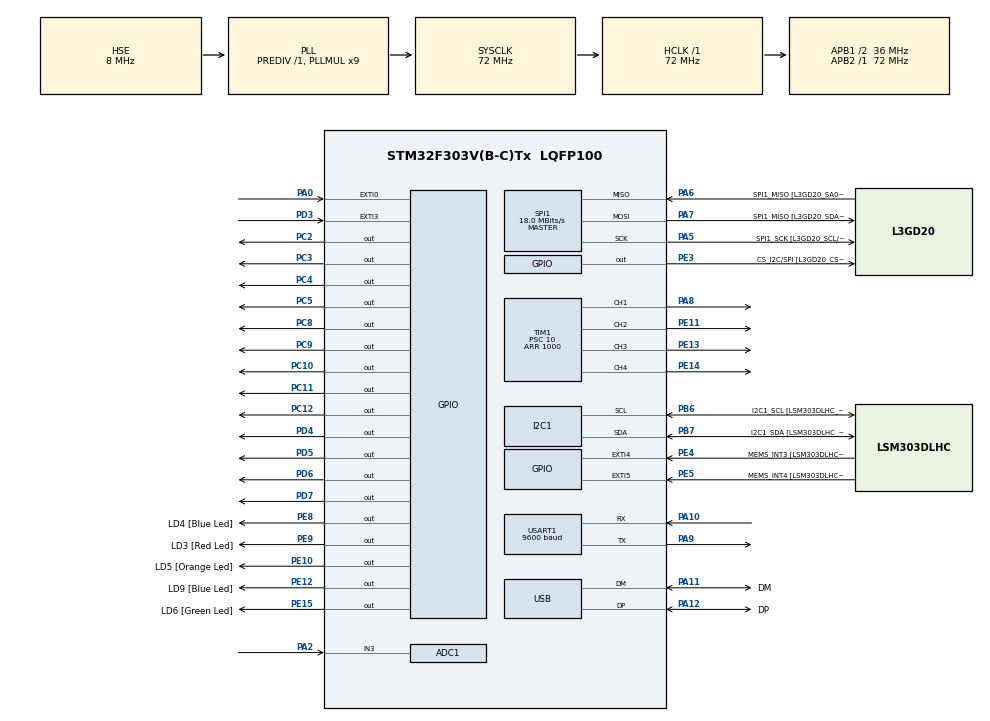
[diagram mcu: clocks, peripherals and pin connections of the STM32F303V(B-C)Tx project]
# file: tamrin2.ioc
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ADC1.Channel-1\#ChannelRegularConversion=ADC_CHANNEL_3
ADC1.NbrOfConversionFlag=1
ADC1.Offset-1\#ChannelRegularConversion=0
ADC1.OffsetNumber-1\#ChannelRegularConversion=ADC_OFFSET_NONE
ADC1.Rank-1\#ChannelRegularConversion=1
ADC1.SamplingTime-1\#ChannelRegularConversion=ADC_SAMPLETIME_601CYCLES_5
ADC1.master=1
I2C1.Timing-I2C=0x2000090E
Mcu.Family=STM32F3
Mcu.Name=STM32F303V(B-C)Tx
Mcu.Package=LQFP100
NVIC.ADC1_2_IRQn=true\:3\:0\:true\:false\:true\:true\:true
NVIC.EXTI0_IRQn=true\:0\:0\:true\:false\:true\:true\:true
NVIC.EXTI3_IRQn=true\:1\:0\:true\:false\:true\:true\:true
NVIC.PriorityGroup=NVIC_PRIORITYGROUP_2
NVIC.TIM2_IRQn=true\:0\:0\:true\:false\:true\:true\:true
NVIC.TIM3_IRQn=true\:2\:0\:true\:false\:true\:true\:true
NVIC.USART1_IRQn=true\:1\:0\:true\:false\:true\:true\:true
PA0.Signal=GPXTI0
PA10.Mode=Asynchronous
PA10.Signal=USART1_RX
PA11.GPIO_Label=DM
PA11.Mode=Device
PA11.Signal=USB_DM
PA12.GPIO_Label=DP
PA12.Mode=Device
PA12.Signal=USB_DP
PA13.GPIO_Label=SWDIO
PA13.Mode=Serial_Wire
PA13.Signal=SYS_JTMS-SWDIO
PA14.GPIO_Label=SWCLK
PA14.Mode=Serial_Wire
PA14.Signal=SYS_JTCK-SWCLK
PA2.Mode=IN3-Single-Ended
PA2.Signal=ADC1_IN3
PA5.GPIO_Label=SPI1_SCK [L3GD20_SCL/SPC]
PA5.Mode=Full_Duplex_Master
PA5.Signal=SPI1_SCK
PA6.GPIO_Label=SPI1_MISO [L3GD20_SA0/SDO]
PA6.Mode=Full_Duplex_Master
PA6.Signal=SPI1_MISO
PA7.GPIO_Label=SPI1_MISO [L3GD20_SDA/SDI/SDO]
PA7.Mode=Full_Duplex_Master
PA7.Signal=SPI1_MOSI
PA8.Signal=S_TIM1_CH1
PA9.Mode=Asynchronous
PA9.Signal=USART1_TX
PB3.GPIO_Label=SWO
PB3.Signal=SYS_JTDO-TRACESWO
PB6.GPIO_Label=I2C1_SCL [LSM303DLHC_SCL]
PB6.GPIO_Pu=GPIO_PULLUP
PB6.Mode=I2C
PB6.Signal=I2C1_SCL
PB7.GPIO_Label=I2C1_SDA [LSM303DLHC_SDA]
PB7.GPIO_Pu=GPIO_PULLUP
PB7.Mode=I2C
PB7.Signal=I2C1_SDA
PC10.Signal=GPIO_Output
PC11.Signal=GPIO_Output
PC12.Signal=GPIO_Output
PC14-OSC32_IN.GPIO_Label=OSC32_IN
PC14-OSC32_IN.Signal=RCC_OSC32_IN
PC15-OSC32_OUT.GPIO_Label=OSC32_OUT
PC15-OSC32_OUT.Signal=RCC_OSC32_OUT
PC2.GPIO_PuPd=GPIO_PULLDOWN
PC2.Signal=GPIO_Output
PC3.GPIO_PuPd=GPIO_PULLDOWN
PC3.Signal=GPIO_Output
PC4.GPIO_PuPd=GPIO_PULLDOWN
PC4.Signal=GPIO_Output
PC5.GPIO_PuPd=GPIO_PULLDOWN
PC5.Signal=GPIO_Output
PC8.Signal=GPIO_Output
PC9.GPIO_PuPd=GPIO_PULLDOWN
PC9.Signal=GPIO_Output
PD3.GPIO_PuPd=GPIO_PULLDOWN
PD3.Signal=GPXTI3
PD4.GPIO_PuPd=GPIO_PULLDOWN
PD4.Signal=GPIO_Output
PD5.GPIO_PuPd=GPIO_PULLDOWN
PD5.Signal=GPIO_Output
PD6.GPIO_PuPd=GPIO_PULLDOWN
PD6.Signal=GPIO_Output
PD7.GPIO_PuPd=GPIO_PULLDOWN
PD7.Signal=GPIO_Output
PE10.GPIO_Label=LD5 [Orange Led]
PE10.Signal=GPIO_Output
PE11.Signal=S_TIM1_CH2
PE12.GPIO_Label=LD9 [Blue Led]
PE12.Signal=GPIO_Output
PE13.Signal=S_TIM1_CH3
PE14.Signal=S_TIM1_CH4
PE15.GPIO_Label=LD6 [Green Led]
PE15.Signal=GPIO_Output
PE3.GPIO_Label=CS_I2C/SPI [L3GD20_CS_I2C/SPI]
PE3.Signal=GPIO_Output
PE4.GPIO_Label=MEMS_INT3 [LSM303DLHC_INT1]
PE4.GPIO_ModeDefaultEXTI=GPIO_MODE_EVT_RISING
PE4.Signal=GPXTI4
PE5.GPIO_Label=MEMS_INT4 [LSM303DLHC_INT2]
PE5.GPIO_ModeDefaultEXTI=GPIO_MODE_EVT_RISING
PE5.Signal=GPXTI5
PE8.GPIO_Label=LD4 [Blue Led]
PE8.Signal=GPIO_Output
PE9.GPIO_Label=LD3 [Red Led]
PE9.Signal=GPIO_Output
PF0-OSC_IN.GPIO_Label=OSC_IN
PF0-OSC_IN.Mode=HSE-External-Clock-Source
PF0-OSC_IN.Signal=RCC_OSC_IN
PF1-OSC_OUT.GPIO_Label=OSC_OUT
PF1-OSC_OUT.Signal=RCC_OSC_OUT
ProjectManager.HeapSize=0x200
ProjectManager.StackSize=0x400
ProjectManager.TargetToolchain=STM32CubeIDE
RCC.AHBFreq_Value=72000000
RCC.APB1CLKDivider=RCC_HCLK_DIV2
RCC.APB1Freq_Value=36000000
RCC.APB1TimFreq_Value=72000000
RCC.APB2Freq_Value=72000000
RCC.APB2TimFreq_Value=72000000
RCC.CortexFreq_Value=72000000
RCC.HCLKFreq_Value=72000000
RCC.HSE_VALUE=8000000
RCC.HSI_VALUE=8000000
RCC.LSE_VALUE=32768
RCC.PLLMUL=RCC_PLL_MUL9
RCC.PRESCALERUSB=RCC_USBCLKSOURCE_PLL_DIV1_5
RCC.SYSCLKFreq_VALUE=72000000
RCC.SYSCLKSourceVirtual=RCC_SYSCLKSOURCE_PLLCLK
RCC.USBFreq_Value=48000000
RTC.AsynchPrediv=39
RTC.SynchPrediv=999
SH.S_TIM1_CH1.0=TIM1_CH1,PWM Generation1 CH1
SH.S_TIM1_CH2.0=TIM1_CH2,PWM Generation2 CH2
SH.S_TIM1_CH3.0=TIM1_CH3,PWM Generation3 CH3
SH.S_TIM1_CH4.0=TIM1_CH4,PWM Generation4 CH4
SPI1.BaudRatePrescaler=SPI_BAUDRATEPRESCALER_4
SPI1.BaudRatePrescaler-Full_Duplex_Master=SPI_BAUDRATEPRESCALER_2
SPI1.CalculateBaudRate=18.0 MBits/s
SPI1.CalculateBaudRate-Full_Duplex_Master=24.0 MBits/s
SPI1.Direction=SPI_DIRECTION_2LINES
SPI1.Mode=SPI_MODE_MASTER
SPI1.Mode-Full_Duplex_Master=SPI_MODE_MASTER
SPI1.VirtualType=VM_MASTER
TIM1.Channel-PWM\ Generation1\ CH1=TIM_CHANNEL_1
TIM1.Channel-PWM\ Generation2\ CH2=TIM_CHANNEL_2
TIM1.Channel-PWM\ Generation3\ CH3=TIM_CHANNEL_3
TIM1.Channel-PWM\ Generation4\ CH4=TIM_CHANNEL_4
TIM1.Period=1000
TIM1.Prescaler=10
TIM2.Period=1000
TIM2.Prescaler=287
TIM3.Period=10000
TIM3.Prescaler=3599
USART1.BaudRate=9600
USART1.VirtualMode-Asynchronous=VM_ASYNC
VP_RTC_VS_RTC_Activate.Mode=RTC_Enabled
VP_RTC_VS_RTC_Calendar.Mode=RTC_Calendar
VP_TIM2_VS_ClockSourceINT.Mode=Internal
VP_TIM3_VS_ClockSourceINT.Mode=Internal
board=STM32F3DISCOVERY

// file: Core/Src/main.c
/* USER CODE BEGIN Header */
/**
  ******************************************************************************
  * @file           : main.c
  * @brief          : Main program body
  ******************************************************************************
  * @attention
  *
  * <h2><center>&copy; Copyright (c) 2022 STMicroelectronics.
  * All rights reserved.</center></h2>
  *
  * This software component is licensed by ST under BSD 3-Clause license,
  * the "License"; You may not use this file except in compliance with the
  * License. You may obtain a copy of the License at:
  *                        opensource.org/licenses/BSD-3-Clause
  *
  ******************************************************************************
  */
/* USER CODE END Header */
#include "main.h"

/* USER CODE BEGIN Includes */
#include "LiquidCrystal.h"
#include<time.h>
#include <stdio.h>
#include <stdlib.h>

/* USER CODE END Includes */

/* USER CODE BEGIN PTD */
typedef unsigned char byte;
/* USER CODE END PTD */

ADC_HandleTypeDef hadc1;

I2C_HandleTypeDef hi2c1;

RTC_HandleTypeDef hrtc;

SPI_HandleTypeDef hspi1;

TIM_HandleTypeDef htim1;
TIM_HandleTypeDef htim2;
TIM_HandleTypeDef htim3;

UART_HandleTypeDef huart1;

PCD_HandleTypeDef hpcd_USB_FS;

/* USER CODE BEGIN PV */
RTC_TimeTypeDef mytime;
RTC_DateTypeDef mydate;
unsigned char data1[1];

byte doodler_on_stick[8] = {
	0x10,
	0x10,
	0x1F,
	0x11,
	0x11,
	0x1F,
	0x12,
	0x12
};
byte doodler[8] = {
	0x00,
	0x00,
	0x1F,
	0x11,
	0x11,
	0x1F,
	0x02,
	0x02
};
byte normal_stick[8] = {
	0x10,
	0x10,
	0x10,
	0x10,
	0x10,
	0x10,
	0x10,
	0x10
};
byte broken_stick[8] = {
	0x10,
	0x10,
	0x10,
	0x00,
	0x00,
	0x10,
	0x10,
	0x10
};
byte jump_stick[8] = {
	0x10,
	0x10,
	0x15,
	0x1F,
	0x1A,
	0x10,
	0x10,
	0x10
};
byte monster[8] = {
	0x15,
	0x0E,
	0x04,
	0x1F,
	0x1F,
	0x04,
	0x0E,
	0x15
};
byte black_hole[8] = {
	0x04,
	0x0E,
	0x1F,
	0x1F,
	0x1F,
	0x1F,
	0x0E,
	0x04
};

/* USER CODE END PV */

void SystemClock_Config(void);
static void MX_GPIO_Init(void);
static void MX_I2C1_Init(void);
static void MX_SPI1_Init(void);
static void MX_USB_PCD_Init(void);
static void MX_TIM2_Init(void);
static void MX_USART1_UART_Init(void);
static void MX_ADC1_Init(void);
static void MX_TIM1_Init(void);
static void MX_RTC_Init(void);
static void MX_TIM3_Init(void);

int main(void)
{

  /* MCU Configuration--------------------------------------------------------*/

  /* Reset of all peripherals, Initializes the Flash interface and the Systick. */
  HAL_Init();

  /* Configure the system clock */
  SystemClock_Config();

  /* Initialize all configured peripherals */
  MX_GPIO_Init();
  MX_I2C1_Init();
  MX_SPI1_Init();
  MX_USB_PCD_Init();
  MX_TIM2_Init();
  MX_USART1_UART_Init();
  MX_ADC1_Init();
  MX_TIM1_Init();
  MX_RTC_Init();
  MX_TIM3_Init();
  /* USER CODE BEGIN 2 */
	srand(time(0));
	LiquidCrystal(GPIOD, GPIO_PIN_8, GPIO_PIN_9, GPIO_PIN_10, GPIO_PIN_11, GPIO_PIN_12, GPIO_PIN_13, GPIO_PIN_14);
	begin(20,4);
	createChar(0, doodler);
	createChar(1, doodler_on_stick);
	createChar(2, normal_stick);
	createChar(3, broken_stick);
	createChar(4, jump_stick);
	createChar(5, monster);
	createChar(6, black_hole);

	HAL_ADC_Start_IT(&hadc1);

	HAL_UART_Receive_IT(&huart1, data1, sizeof(data1));
	HAL_TIM_Base_Start_IT(&htim2);
	HAL_TIM_Base_Start_IT(&htim3);
	HAL_TIM_PWM_Start(&htim1, TIM_CHANNEL_1);
	HAL_TIM_PWM_Start(&htim1, TIM_CHANNEL_2);
	HAL_TIM_PWM_Start(&htim1, TIM_CHANNEL_3);
	HAL_TIM_PWM_Start(&htim1, TIM_CHANNEL_4);

	HAL_GPIO_WritePin(GPIOD, GPIO_PIN_4, 1);
	HAL_GPIO_WritePin(GPIOD, GPIO_PIN_5, 1);
	HAL_GPIO_WritePin(GPIOD, GPIO_PIN_6, 1);
	HAL_GPIO_WritePin(GPIOD, GPIO_PIN_7, 1);

	mytime.Hours = 19;
	mytime.Minutes = 31;
	mytime.Seconds = 40;
	HAL_RTC_SetTime(&hrtc, &mytime, RTC_FORMAT_BIN);

	mydate.Year = 22;
	mydate.Month = 7;
	mydate.Date = 1;
	HAL_RTC_SetDate(&hrtc, &mydate, RTC_FORMAT_BIN);

  /* USER CODE END 2 */

  /* Infinite loop */
  while (1)
  {

  }
}

void SystemClock_Config(void)
{
  RCC_OscInitTypeDef RCC_OscInitStruct = {0};
  RCC_ClkInitTypeDef RCC_ClkInitStruct = {0};
  RCC_PeriphCLKInitTypeDef PeriphClkInit = {0};

  /** Initializes the RCC Oscillators according to the specified parameters
  * in the RCC_OscInitTypeDef structure.
  */
  RCC_OscInitStruct.OscillatorType = RCC_OSCILLATORTYPE_HSI|RCC_OSCILLATORTYPE_LSI
                              |RCC_OSCILLATORTYPE_HSE;
  RCC_OscInitStruct.HSEState = RCC_HSE_BYPASS;
  RCC_OscInitStruct.HSEPredivValue = RCC_HSE_PREDIV_DIV1;
  RCC_OscInitStruct.HSIState = RCC_HSI_ON;
  RCC_OscInitStruct.HSICalibrationValue = RCC_HSICALIBRATION_DEFAULT;
  RCC_OscInitStruct.LSIState = RCC_LSI_ON;
  RCC_OscInitStruct.PLL.PLLState = RCC_PLL_ON;
  RCC_OscInitStruct.PLL.PLLSource = RCC_PLLSOURCE_HSE;
  RCC_OscInitStruct.PLL.PLLMUL = RCC_PLL_MUL9;
  if (HAL_RCC_OscConfig(&RCC_OscInitStruct) != HAL_OK)
  {
    Error_Handler();
  }
  /** Initializes the CPU, AHB and APB buses clocks
  */
  RCC_ClkInitStruct.ClockType = RCC_CLOCKTYPE_HCLK|RCC_CLOCKTYPE_SYSCLK
                              |RCC_CLOCKTYPE_PCLK1|RCC_CLOCKTYPE_PCLK2;
  RCC_ClkInitStruct.SYSCLKSource = RCC_SYSCLKSOURCE_PLLCLK;
  RCC_ClkInitStruct.AHBCLKDivider = RCC_SYSCLK_DIV1;
  RCC_ClkInitStruct.APB1CLKDivider = RCC_HCLK_DIV2;
  RCC_ClkInitStruct.APB2CLKDivider = RCC_HCLK_DIV1;

  if (HAL_RCC_ClockConfig(&RCC_ClkInitStruct, FLASH_LATENCY_2) != HAL_OK)
  {
    Error_Handler();
  }
  PeriphClkInit.PeriphClockSelection = RCC_PERIPHCLK_USB|RCC_PERIPHCLK_USART1
                              |RCC_PERIPHCLK_I2C1|RCC_PERIPHCLK_RTC
                              |RCC_PERIPHCLK_TIM1|RCC_PERIPHCLK_ADC12;
  PeriphClkInit.Usart1ClockSelection = RCC_USART1CLKSOURCE_PCLK2;
  PeriphClkInit.Adc12ClockSelection = RCC_ADC12PLLCLK_DIV1;
  PeriphClkInit.I2c1ClockSelection = RCC_I2C1CLKSOURCE_HSI;
  PeriphClkInit.RTCClockSelection = RCC_RTCCLKSOURCE_LSI;
  PeriphClkInit.USBClockSelection = RCC_USBCLKSOURCE_PLL_DIV1_5;
  PeriphClkInit.Tim1ClockSelection = RCC_TIM1CLK_HCLK;
  if (HAL_RCCEx_PeriphCLKConfig(&PeriphClkInit) != HAL_OK)
  {
    Error_Handler();
  }
}

static void MX_ADC1_Init(void)
{

  ADC_MultiModeTypeDef multimode = {0};
  ADC_ChannelConfTypeDef sConfig = {0};

  /** Common config
  */
  hadc1.Instance = ADC1;
  hadc1.Init.ClockPrescaler = ADC_CLOCK_ASYNC_DIV1;
  hadc1.Init.Resolution = ADC_RESOLUTION_12B;
  hadc1.Init.ScanConvMode = ADC_SCAN_DISABLE;
  hadc1.Init.ContinuousConvMode = DISABLE;
  hadc1.Init.DiscontinuousConvMode = DISABLE;
  hadc1.Init.ExternalTrigConvEdge = ADC_EXTERNALTRIGCONVEDGE_NONE;
  hadc1.Init.ExternalTrigConv = ADC_SOFTWARE_START;
  hadc1.Init.DataAlign = ADC_DATAALIGN_RIGHT;
  hadc1.Init.NbrOfConversion = 1;
  hadc1.Init.DMAContinuousRequests = DISABLE;
  hadc1.Init.EOCSelection = ADC_EOC_SINGLE_CONV;
  hadc1.Init.LowPowerAutoWait = DISABLE;
  hadc1.Init.Overrun = ADC_OVR_DATA_OVERWRITTEN;
  if (HAL_ADC_Init(&hadc1) != HAL_OK)
  {
    Error_Handler();
  }
  /** Configure the ADC multi-mode
  */
  multimode.Mode = ADC_MODE_INDEPENDENT;
  if (HAL_ADCEx_MultiModeConfigChannel(&hadc1, &multimode) != HAL_OK)
  {
    Error_Handler();
  }
  /** Configure Regular Channel
  */
  sConfig.Channel = ADC_CHANNEL_3;
  sConfig.Rank = ADC_REGULAR_RANK_1;
  sConfig.SingleDiff = ADC_SINGLE_ENDED;
  sConfig.SamplingTime = ADC_SAMPLETIME_601CYCLES_5;
  sConfig.OffsetNumber = ADC_OFFSET_NONE;
  sConfig.Offset = 0;
  if (HAL_ADC_ConfigChannel(&hadc1, &sConfig) != HAL_OK)
  {
    Error_Handler();
  }

}

static void MX_I2C1_Init(void)
{

  hi2c1.Instance = I2C1;
  hi2c1.Init.Timing = 0x2000090E;
  hi2c1.Init.OwnAddress1 = 0;
  hi2c1.Init.AddressingMode = I2C_ADDRESSINGMODE_7BIT;
  hi2c1.Init.DualAddressMode = I2C_DUALADDRESS_DISABLE;
  hi2c1.Init.OwnAddress2 = 0;
  hi2c1.Init.OwnAddress2Masks = I2C_OA2_NOMASK;
  hi2c1.Init.GeneralCallMode = I2C_GENERALCALL_DISABLE;
  hi2c1.Init.NoStretchMode = I2C_NOSTRETCH_DISABLE;
  if (HAL_I2C_Init(&hi2c1) != HAL_OK)
  {
    Error_Handler();
  }
  /** Configure Analogue filter
  */
  if (HAL_I2CEx_ConfigAnalogFilter(&hi2c1, I2C_ANALOGFILTER_ENABLE) != HAL_OK)
  {
    Error_Handler();
  }
  /** Configure Digital filter
  */
  if (HAL_I2CEx_ConfigDigitalFilter(&hi2c1, 0) != HAL_OK)
  {
    Error_Handler();
  }

}

static void MX_RTC_Init(void)
{

  RTC_TimeTypeDef sTime = {0};
  RTC_DateTypeDef sDate = {0};

  /** Initialize RTC Only
  */
  hrtc.Instance = RTC;
  hrtc.Init.HourFormat = RTC_HOURFORMAT_24;
  hrtc.Init.AsynchPrediv = 39;
  hrtc.Init.SynchPrediv = 999;
  hrtc.Init.OutPut = RTC_OUTPUT_DISABLE;
  hrtc.Init.OutPutPolarity = RTC_OUTPUT_POLARITY_HIGH;
  hrtc.Init.OutPutType = RTC_OUTPUT_TYPE_OPENDRAIN;
  if (HAL_RTC_Init(&hrtc) != HAL_OK)
  {
    Error_Handler();
  }

  /** Initialize RTC and set the Time and Date
  */
  sTime.Hours = 0x0;
  sTime.Minutes = 0x0;
  sTime.Seconds = 0x0;
  sTime.DayLightSaving = RTC_DAYLIGHTSAVING_NONE;
  sTime.StoreOperation = RTC_STOREOPERATION_RESET;
  if (HAL_RTC_SetTime(&hrtc, &sTime, RTC_FORMAT_BCD) != HAL_OK)
  {
    Error_Handler();
  }
  sDate.WeekDay = RTC_WEEKDAY_MONDAY;
  sDate.Month = RTC_MONTH_JANUARY;
  sDate.Date = 0x1;
  sDate.Year = 0x0;

  if (HAL_RTC_SetDate(&hrtc, &sDate, RTC_FORMAT_BCD) != HAL_OK)
  {
    Error_Handler();
  }

}

static void MX_SPI1_Init(void)
{

  /* SPI1 parameter configuration*/
  hspi1.Instance = SPI1;
  hspi1.Init.Mode = SPI_MODE_MASTER;
  hspi1.Init.Direction = SPI_DIRECTION_2LINES;
  hspi1.Init.DataSize = SPI_DATASIZE_4BIT;
  hspi1.Init.CLKPolarity = SPI_POLARITY_LOW;
  hspi1.Init.CLKPhase = SPI_PHASE_1EDGE;
  hspi1.Init.NSS = SPI_NSS_SOFT;
  hspi1.Init.BaudRatePrescaler = SPI_BAUDRATEPRESCALER_4;
  hspi1.Init.FirstBit = SPI_FIRSTBIT_MSB;
  hspi1.Init.TIMode = SPI_TIMODE_DISABLE;
  hspi1.Init.CRCCalculation = SPI_CRCCALCULATION_DISABLE;
  hspi1.Init.CRCPolynomial = 7;
  hspi1.Init.CRCLength = SPI_CRC_LENGTH_DATASIZE;
  hspi1.Init.NSSPMode = SPI_NSS_PULSE_ENABLE;
  if (HAL_SPI_Init(&hspi1) != HAL_OK)
  {
    Error_Handler();
  }

}

static void MX_TIM1_Init(void)
{

  TIM_MasterConfigTypeDef sMasterConfig = {0};
  TIM_OC_InitTypeDef sConfigOC = {0};
  TIM_BreakDeadTimeConfigTypeDef sBreakDeadTimeConfig = {0};

  htim1.Instance = TIM1;
  htim1.Init.Prescaler = 10;
  htim1.Init.CounterMode = TIM_COUNTERMODE_UP;
  htim1.Init.Period = 1000;
  htim1.Init.ClockDivision = TIM_CLOCKDIVISION_DIV1;
  htim1.Init.RepetitionCounter = 0;
  htim1.Init.AutoReloadPreload = TIM_AUTORELOAD_PRELOAD_DISABLE;
  if (HAL_TIM_PWM_Init(&htim1) != HAL_OK)
  {
    Error_Handler();
  }
  sMasterConfig.MasterOutputTrigger = TIM_TRGO_RESET;
  sMasterConfig.MasterOutputTrigger2 = TIM_TRGO2_RESET;
  sMasterConfig.MasterSlaveMode = TIM_MASTERSLAVEMODE_DISABLE;
  if (HAL_TIMEx_MasterConfigSynchronization(&htim1, &sMasterConfig) != HAL_OK)
  {
    Error_Handler();
  }
  sConfigOC.OCMode = TIM_OCMODE_PWM1;
  sConfigOC.Pulse = 0;
  sConfigOC.OCPolarity = TIM_OCPOLARITY_HIGH;
  sConfigOC.OCNPolarity = TIM_OCNPOLARITY_HIGH;
  sConfigOC.OCFastMode = TIM_OCFAST_DISABLE;
  sConfigOC.OCIdleState = TIM_OCIDLESTATE_RESET;
  sConfigOC.OCNIdleState = TIM_OCNIDLESTATE_RESET;
  if (HAL_TIM_PWM_ConfigChannel(&htim1, &sConfigOC, TIM_CHANNEL_1) != HAL_OK)
  {
    Error_Handler();
  }
  if (HAL_TIM_PWM_ConfigChannel(&htim1, &sConfigOC, TIM_CHANNEL_2) != HAL_OK)
  {
    Error_Handler();
  }
  if (HAL_TIM_PWM_ConfigChannel(&htim1, &sConfigOC, TIM_CHANNEL_3) != HAL_OK)
  {
    Error_Handler();
  }
  if (HAL_TIM_PWM_ConfigChannel(&htim1, &sConfigOC, TIM_CHANNEL_4) != HAL_OK)
  {
    Error_Handler();
  }
  sBreakDeadTimeConfig.OffStateRunMode = TIM_OSSR_DISABLE;
  sBreakDeadTimeConfig.OffStateIDLEMode = TIM_OSSI_DISABLE;
  sBreakDeadTimeConfig.LockLevel = TIM_LOCKLEVEL_OFF;
  sBreakDeadTimeConfig.DeadTime = 0;
  sBreakDeadTimeConfig.BreakState = TIM_BREAK_DISABLE;
  sBreakDeadTimeConfig.BreakPolarity = TIM_BREAKPOLARITY_HIGH;
  sBreakDeadTimeConfig.BreakFilter = 0;
  sBreakDeadTimeConfig.Break2State = TIM_BREAK2_DISABLE;
  sBreakDeadTimeConfig.Break2Polarity = TIM_BREAK2POLARITY_HIGH;
  sBreakDeadTimeConfig.Break2Filter = 0;
  sBreakDeadTimeConfig.AutomaticOutput = TIM_AUTOMATICOUTPUT_DISABLE;
  if (HAL_TIMEx_ConfigBreakDeadTime(&htim1, &sBreakDeadTimeConfig) != HAL_OK)
  {
    Error_Handler();
  }
  HAL_TIM_MspPostInit(&htim1);

}

static void MX_TIM2_Init(void)
{

  TIM_ClockConfigTypeDef sClockSourceConfig = {0};
  TIM_MasterConfigTypeDef sMasterConfig = {0};

  htim2.Instance = TIM2;
  htim2.Init.Prescaler = 287;
  htim2.Init.CounterMode = TIM_COUNTERMODE_UP;
  htim2.Init.Period = 1000;
  htim2.Init.ClockDivision = TIM_CLOCKDIVISION_DIV1;
  htim2.Init.AutoReloadPreload = TIM_AUTORELOAD_PRELOAD_DISABLE;
  if (HAL_TIM_Base_Init(&htim2) != HAL_OK)
  {
    Error_Handler();
  }
  sClockSourceConfig.ClockSource = TIM_CLOCKSOURCE_INTERNAL;
  if (HAL_TIM_ConfigClockSource(&htim2, &sClockSourceConfig) != HAL_OK)
  {
    Error_Handler();
  }
  sMasterConfig.MasterOutputTrigger = TIM_TRGO_RESET;
  sMasterConfig.MasterSlaveMode = TIM_MASTERSLAVEMODE_DISABLE;
  if (HAL_TIMEx_MasterConfigSynchronization(&htim2, &sMasterConfig) != HAL_OK)
  {
    Error_Handler();
  }

}

static void MX_TIM3_Init(void)
{

  TIM_ClockConfigTypeDef sClockSourceConfig = {0};
  TIM_MasterConfigTypeDef sMasterConfig = {0};

  htim3.Instance = TIM3;
  htim3.Init.Prescaler = 3599;
  htim3.Init.CounterMode = TIM_COUNTERMODE_UP;
  htim3.Init.Period = 10000;
  htim3.Init.ClockDivision = TIM_CLOCKDIVISION_DIV1;
  htim3.Init.AutoReloadPreload = TIM_AUTORELOAD_PRELOAD_DISABLE;
  if (HAL_TIM_Base_Init(&htim3) != HAL_OK)
  {
    Error_Handler();
  }
  sClockSourceConfig.ClockSource = TIM_CLOCKSOURCE_INTERNAL;
  if (HAL_TIM_ConfigClockSource(&htim3, &sClockSourceConfig) != HAL_OK)
  {
    Error_Handler();
  }
  sMasterConfig.MasterOutputTrigger = TIM_TRGO_RESET;
  sMasterConfig.MasterSlaveMode = TIM_MASTERSLAVEMODE_DISABLE;
  if (HAL_TIMEx_MasterConfigSynchronization(&htim3, &sMasterConfig) != HAL_OK)
  {
    Error_Handler();
  }

}

static void MX_USART1_UART_Init(void)
{

  huart1.Instance = USART1;
  huart1.Init.BaudRate = 9600;
  huart1.Init.WordLength = UART_WORDLENGTH_8B;
  huart1.Init.StopBits = UART_STOPBITS_1;
  huart1.Init.Parity = UART_PARITY_NONE;
  huart1.Init.Mode = UART_MODE_TX_RX;
  huart1.Init.HwFlowCtl = UART_HWCONTROL_NONE;
  huart1.Init.OverSampling = UART_OVERSAMPLING_16;
  huart1.Init.OneBitSampling = UART_ONE_BIT_SAMPLE_DISABLE;
  huart1.AdvancedInit.AdvFeatureInit = UART_ADVFEATURE_NO_INIT;
  if (HAL_UART_Init(&huart1) != HAL_OK)
  {
    Error_Handler();
  }

}

static void MX_USB_PCD_Init(void)
{

  hpcd_USB_FS.Instance = USB;
  hpcd_USB_FS.Init.dev_endpoints = 8;
  hpcd_USB_FS.Init.speed = PCD_SPEED_FULL;
  hpcd_USB_FS.Init.phy_itface = PCD_PHY_EMBEDDED;
  hpcd_USB_FS.Init.low_power_enable = DISABLE;
  hpcd_USB_FS.Init.battery_charging_enable = DISABLE;
  if (HAL_PCD_Init(&hpcd_USB_FS) != HAL_OK)
  {
    Error_Handler();
  }

}

static void MX_GPIO_Init(void)
{
  GPIO_InitTypeDef GPIO_InitStruct = {0};

  /* GPIO Ports Clock Enable */
  __HAL_RCC_GPIOE_CLK_ENABLE();
  __HAL_RCC_GPIOC_CLK_ENABLE();
  __HAL_RCC_GPIOF_CLK_ENABLE();
  __HAL_RCC_GPIOA_CLK_ENABLE();
  __HAL_RCC_GPIOD_CLK_ENABLE();
  __HAL_RCC_GPIOB_CLK_ENABLE();

  /*Configure GPIO pin Output Level */
  HAL_GPIO_WritePin(GPIOE, CS_I2C_SPI_Pin|LD4_Pin|LD3_Pin|LD5_Pin
                          |LD9_Pin|LD6_Pin, GPIO_PIN_RESET);

  /*Configure GPIO pin Output Level */
  HAL_GPIO_WritePin(GPIOC, GPIO_PIN_2|GPIO_PIN_3|GPIO_PIN_4|GPIO_PIN_5
                          |GPIO_PIN_8|GPIO_PIN_9|GPIO_PIN_10|GPIO_PIN_11
                          |GPIO_PIN_12, GPIO_PIN_RESET);

  /*Configure GPIO pin Output Level */
  HAL_GPIO_WritePin(GPIOD, GPIO_PIN_4|GPIO_PIN_5|GPIO_PIN_6|GPIO_PIN_7, GPIO_PIN_RESET);

  /*Configure GPIO pins : CS_I2C_SPI_Pin LD4_Pin LD3_Pin LD5_Pin
                           LD9_Pin LD6_Pin */
  GPIO_InitStruct.Pin = CS_I2C_SPI_Pin|LD4_Pin|LD3_Pin|LD5_Pin
                          |LD9_Pin|LD6_Pin;
  GPIO_InitStruct.Mode = GPIO_MODE_OUTPUT_PP;
  GPIO_InitStruct.Pull = GPIO_NOPULL;
  GPIO_InitStruct.Speed = GPIO_SPEED_FREQ_LOW;
  HAL_GPIO_Init(GPIOE, &GPIO_InitStruct);

  /*Configure GPIO pins : MEMS_INT3_Pin MEMS_INT4_Pin */
  GPIO_InitStruct.Pin = MEMS_INT3_Pin|MEMS_INT4_Pin;
  GPIO_InitStruct.Mode = GPIO_MODE_EVT_RISING;
  GPIO_InitStruct.Pull = GPIO_NOPULL;
  HAL_GPIO_Init(GPIOE, &GPIO_InitStruct);

  /*Configure GPIO pins : PC2 PC3 PC4 PC5
                           PC9 */
  GPIO_InitStruct.Pin = GPIO_PIN_2|GPIO_PIN_3|GPIO_PIN_4|GPIO_PIN_5
                          |GPIO_PIN_9;
  GPIO_InitStruct.Mode = GPIO_MODE_OUTPUT_PP;
  GPIO_InitStruct.Pull = GPIO_PULLDOWN;
  GPIO_InitStruct.Speed = GPIO_SPEED_FREQ_LOW;
  HAL_GPIO_Init(GPIOC, &GPIO_InitStruct);

  /*Configure GPIO pin : PA0 */
  GPIO_InitStruct.Pin = GPIO_PIN_0;
  GPIO_InitStruct.Mode = GPIO_MODE_IT_RISING;
  GPIO_InitStruct.Pull = GPIO_NOPULL;
  HAL_GPIO_Init(GPIOA, &GPIO_InitStruct);

  /*Configure GPIO pins : PC8 PC10 PC11 PC12 */
  GPIO_InitStruct.Pin = GPIO_PIN_8|GPIO_PIN_10|GPIO_PIN_11|GPIO_PIN_12;
  GPIO_InitStruct.Mode = GPIO_MODE_OUTPUT_PP;
  GPIO_InitStruct.Pull = GPIO_NOPULL;
  GPIO_InitStruct.Speed = GPIO_SPEED_FREQ_LOW;
  HAL_GPIO_Init(GPIOC, &GPIO_InitStruct);

  /*Configure GPIO pin : PD3 */
  GPIO_InitStruct.Pin = GPIO_PIN_3;
  GPIO_InitStruct.Mode = GPIO_MODE_IT_RISING;
  GPIO_InitStruct.Pull = GPIO_PULLDOWN;
  HAL_GPIO_Init(GPIOD, &GPIO_InitStruct);

  /*Configure GPIO pins : PD4 PD5 PD6 PD7 */
  GPIO_InitStruct.Pin = GPIO_PIN_4|GPIO_PIN_5|GPIO_PIN_6|GPIO_PIN_7;
  GPIO_InitStruct.Mode = GPIO_MODE_OUTPUT_PP;
  GPIO_InitStruct.Pull = GPIO_PULLDOWN;
  GPIO_InitStruct.Speed = GPIO_SPEED_FREQ_LOW;
  HAL_GPIO_Init(GPIOD, &GPIO_InitStruct);

  /* EXTI interrupt init*/
  HAL_NVIC_SetPriority(EXTI0_IRQn, 0, 0);
  HAL_NVIC_EnableIRQ(EXTI0_IRQn);

  HAL_NVIC_SetPriority(EXTI3_IRQn, 1, 0);
  HAL_NVIC_EnableIRQ(EXTI3_IRQn);

}

void Error_Handler(void)
{
  __disable_irq();
  while (1)
  {
  }
}

/************************ (C) COPYRIGHT STMicroelectronics *****END OF FILE****/
